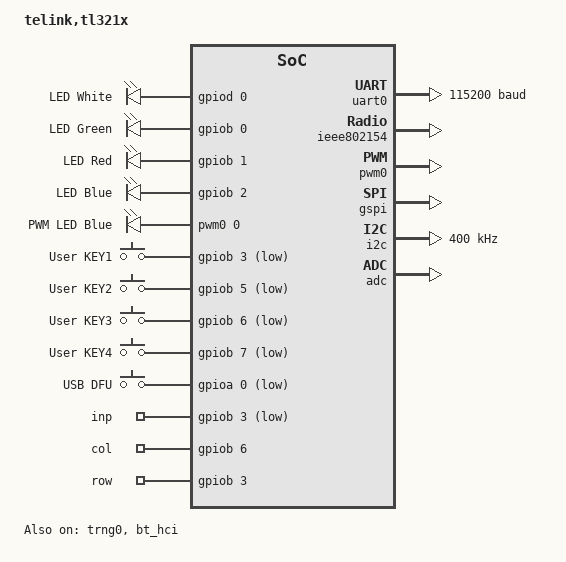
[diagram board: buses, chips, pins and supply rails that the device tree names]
/*
 * Copyright (c) 2024 Telink Semiconductor
 *
 * SPDX-License-Identifier: Apache-2.0
 */

/dts-v1/;

#include <freq.h>
#include <telink/telink_tl321x.dtsi>
#include "tl3218-pinctrl.dtsi"

/ {
	model = "telink,tl321x";
	compatible = "telink,tl3218x";

	aliases {
		led0 = &led_white;
		led1 = &led_green;
		led2 = &led_red;
		led3 = &led_blue;
		sw0 = &key_1;
		sw1 = &key_2;
		sw2 = &key_3;
		sw3 = &key_4;
		pwm-led0 = &pwm_led_blue;
		pwm-0 = &pwm0;
		watchdog0 = &wdt;
		mcuboot-button0 = &key_dfu;
		mcuboot-led0 = &led_blue;
	};

	leds {
		compatible = "gpio-leds";

		led_white: led_0 {
			gpios = <&gpiod 0 GPIO_ACTIVE_HIGH>;
			label = "LED White";
		};

		led_green: led_1 {
			gpios = <&gpiob 0 GPIO_ACTIVE_HIGH>;
			label = "LED Green";
		};

		led_red: led_2 {
			gpios = <&gpiob 1 GPIO_ACTIVE_HIGH>;
			label = "LED Red";
		};

		led_blue: led_3 {
			gpios = <&gpiob 2 GPIO_ACTIVE_HIGH>;
			label = "LED Blue";
		};
	};

	pwm_leds {
		compatible = "pwm-leds";

		pwm_led_blue: pwm_led_0 {
			pwms = <&pwm0 0 PWM_MSEC(20) PWM_POLARITY_NORMAL>;
			label = "PWM LED Blue";
		};
	};

	keys {
		compatible = "gpio-keys";
		key_1: button_1 {
			label = "User KEY1";
			gpios = <&gpiob 3 (GPIO_ACTIVE_LOW | GPIO_PULL_UP)>;
		};
		key_2: button_2 {
			label = "User KEY2";
			gpios = <&gpiob 5 (GPIO_ACTIVE_LOW | GPIO_PULL_UP)>;
		};
		key_3: button_3 {
			label = "User KEY3";
			gpios = <&gpiob 6 (GPIO_ACTIVE_LOW | GPIO_PULL_UP)>;
		};
		key_4: button_4 {
			label = "User KEY4";
			gpios = <&gpiob 7 (GPIO_ACTIVE_LOW | GPIO_PULL_UP)>;
		};
		key_dfu: button_dfu {
			label = "USB DFU";
			gpios = <&gpioa 0 (GPIO_ACTIVE_LOW | GPIO_PULL_UP)>;
		};
	};

	/* Short TL_Key3 (J6 pin 21) to ground */
	key_pool {
		compatible = "gpio-keys";

		inp {
			gpios = <&gpiob 3 (GPIO_ACTIVE_LOW | GPIO_PULL_UP)>,
				<&gpiob 5 (GPIO_ACTIVE_LOW | GPIO_PULL_UP)>;
		};
	};

	key_matrix {
		compatible = "gpio-keys";

		col {
			gpios = <&gpiob 6 GPIO_ACTIVE_HIGH>,
				<&gpiob 7 GPIO_ACTIVE_HIGH>;
		};

		row {
			gpios = <&gpiob 3 (GPIO_PULL_DOWN | GPIO_ACTIVE_HIGH)>,
				<&gpiob 5 (GPIO_PULL_DOWN | GPIO_ACTIVE_HIGH)>;
		};
	};

	chosen {
		zephyr,console = &uart0;
		zephyr,shell-uart = &uart0;
		zephyr,sram = &ram_ilm;
		zephyr,flash = &flash;
		zephyr,flash-controller = &flash_mspi;
		zephyr,entropy = &trng0;
		zephyr,code-partition = &slot0_partition;
		zephyr,ieee802154 = &ieee802154;
		zephyr,bt-hci = &bt_hci;
	};
};

&cpu0 {
	clock-frequency = <96000000>;
};

&ram_ilm {
	reg = <0x00068000 0x00018000>;
};

&ram_ilm_non_retention {
	reg = <0x00080000 0x00008000>;
};

&flash {
	reg = <0x20000000 0x100000>;

	partitions {
		compatible = "fixed-partitions";
		#address-cells = <1>;
		#size-cells = <1>;

		boot_partition: partition@0 {
			label = "mcuboot";
			reg = <0x00000000 0x20000>;
		};
		slot0_partition: partition@20000 {
			label = "image-0";
			reg = <0x20000 0x68000>;
		};
		slot1_partition: partition@88000 {
			label = "image-1";
			reg = <0x88000 0x68000>;
		};
		scratch_partition: partition@f0000 {
			label = "image-scratch";
			reg = <0xf0000 0x4000>;
		};
		storage_partition: partition@f4000 {
			label = "storage";
			reg = <0xf4000 0x0000a000>;
		};

		/* region <0xfe000 0x2000> is used for Telink TLx RF parameters */
		/* For 1M MCU - the partition address is 0xfe000 */
		/* For 2M MCU - the partition address is 0x1fe000 */
		/* For 4M MCU - the partition address is 0x3fe000 */
		/* For 16M MCU - the partition address is 0xffe000 */
		vendor_partition: partition@fe000 {
			label = "vendor-data";
			reg = <0xfe000 0x2000>;
		};
	};
};

&gpiob {
	interrupts = <35 1>;
	status = "okay";
};

&gpioc {
	status = "okay";
};

&gpiod {
	status = "okay";
};

&gpioe {
	interrupts = <36 1>;
	status = "okay";
};

&gpiof {
	interrupts = <37 1>;
	status = "okay";
};

&uart0 {
	status = "okay";
	current-speed = <115200>;
	pinctrl-0 = <&uart0_tx_pe0_default &uart0_rx_pe1_default>;
	pinctrl-names = "default";
};

&trng0 {
	status = "okay";
};

&ieee802154 {
	status = "okay";
};

&pwm0 {
	status = "okay";
	clock-frequency = <300000>;
	pinctrl-ch0 = <&pwm_ch0_pb2_default>;
};

&gspi {
	status = "okay";
	cs0-pin = "GPIO_PE4";
	pinctrl-0 = <&gspi_clk_pe5_default &gspi_miso_pe6_default &gspi_mosi_pe7_default>;
	pinctrl-names = "default";
};

&i2c {
	status = "okay";
	clock-frequency = <I2C_BITRATE_FAST>;
	pinctrl-0 = <&i2c_scl_pc3_default &i2c_sda_pc2_default>;
	pinctrl-names = "default";
};

&adc {
	status = "okay";
	vref-internal-mv = <1200>;
	sample-freq = <DT_FREQ_K(96)>;
	pinctrl-0 = <&adc_pd1_default>;
	pinctrl-names = "default";
};

&bt_hci {
	status = "okay";
};
